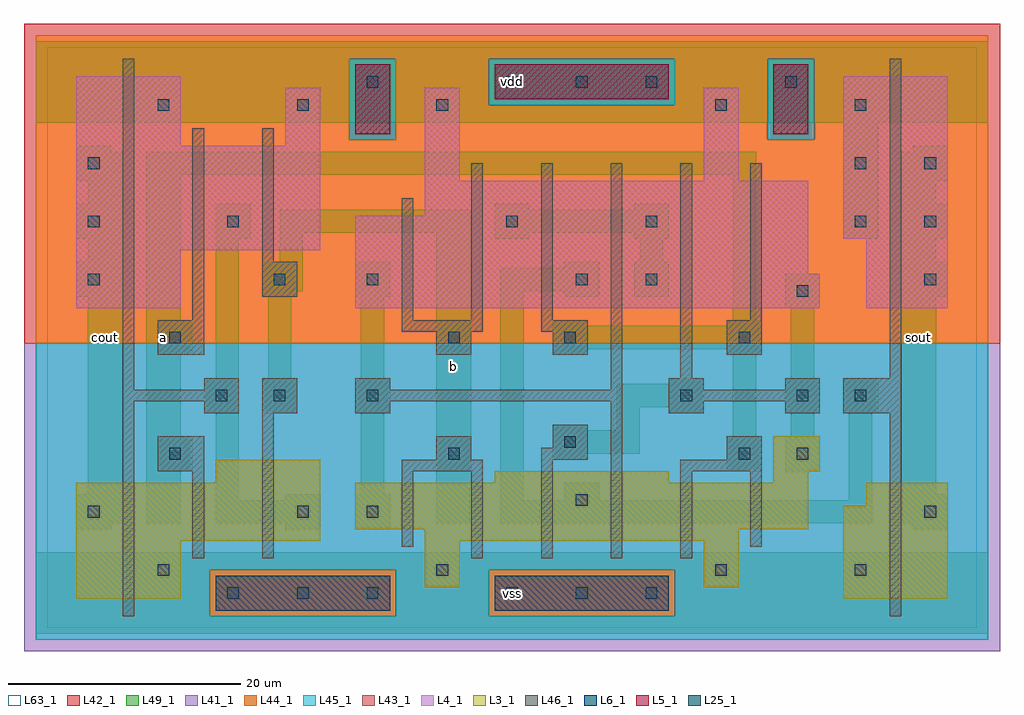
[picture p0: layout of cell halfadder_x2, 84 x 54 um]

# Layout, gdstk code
import gdstk
lib = gdstk.Library(unit=1e-6, precision=1e-09)
def R(c, l, rs):  # rectangles x0, y0, x1, y1
    for r in rs: c.add(gdstk.rectangle(r[:2], r[2:], *l))
def A(c, l, x, y, w, h, nx, ny, dx, dy):  # array of equal rectangles
    R(c, l, [(x+i*dx, y+j*dy, x+i*dx+w, y+j*dy+h) for i in range(nx) for j in range(ny)])
L3_1 = (3, 1)
L4_1 = (4, 1)
L5_1 = (5, 1)
L6_1 = (6, 1)
L25_1 = (25, 1)
L41_1 = (41, 1)
L42_1 = (42, 1)
L43_1 = (43, 1)
L44_1 = (44, 1)
L45_1 = (45, 1)
L46_1 = (46, 1)
L49_1 = (49, 1)
L63_1 = (63, 1)

halfadder_x2 = lib.new_cell('halfadder_x2')
R(halfadder_x2, L3_1, [(2.5,2.5,11.5,7.5), (68.5,2.5,77.5,10.5), (32.5,3.5,35.5,7.5), (56.5,3.5,59.5,7.5), (2.5,7.5,23.5,12.5), (32.5,7.5,59.5,8.5), (26.5,8.5,65.5,12.5), (70.5,10.5,77.5,12.5), (14.5,12.5,23.5,14.5), (38.5,12.5,53.5,13.5), (62.5,12.5,65.5,13.5), (62.5,13.5,66.5,16.5)])
R(halfadder_x2, L4_1, [(2.5,27.5,11.5,32.5), (26.5,27.5,66.5,30.5), (70.5,27.5,77.5,33.5), (26.5,30.5,65.5,35.5), (2.5,32.5,23.5,41.5), (68.5,33.5,77.5,47.5), (32.5,35.5,65.5,38.5), (32.5,38.5,35.5,46.5), (56.5,38.5,59.5,46.5), (2.5,41.5,11.5,47.5), (20.5,41.5,23.5,46.5)])
R(halfadder_x2, L5_1, [(26.5,42.5,29.5,48.5), (62.5,42.5,65.5,48.5), (38.5,45.5,53.5,48.5)])
R(halfadder_x2, L6_1, [(14.5,1.5,29.5,4.5), (38.5,1.5,53.5,4.5)])
A(halfadder_x2, L25_1, 15.5, 2.5, 1, 1, 3, 1, 6, 0)
A(halfadder_x2, L25_1, 39.5, 2.5, 1, 1, 3, 2, 6, 44)
A(halfadder_x2, L25_1, 9.5, 4.5, 1, 1, 3, 1, 24, 0)
A(halfadder_x2, L25_1, 69.5, 4.5, 1, 1, 1, 3, 0, 15)
A(halfadder_x2, L25_1, 27.5, 9.5, 1, 1, 1, 3, 0, 10)
A(halfadder_x2, L25_1, 3.5, 29.5, 1, 1, 1, 3, 0, 5)
A(halfadder_x2, L25_1, 75.5, 29.5, 1, 1, 1, 3, 0, 5)
A(halfadder_x2, L25_1, 9.5, 44.5, 1, 1, 3, 1, 12, 0)
R(halfadder_x2, L25_1, [(3.5,9.5,4.5,10.5), (21.5,9.5,22.5,10.5), (75.5,9.5,76.5,10.5), (45.5,10.5,46.5,11.5), (10.5,14.5,11.5,15.5), (34.5,14.5,35.5,15.5), (59.5,14.5,60.5,15.5), (64.5,14.5,65.5,15.5), (44.5,15.5,45.5,16.5), (14.5,19.5,15.5,20.5), (19.5,19.5,20.5,20.5), (54.5,19.5,55.5,20.5), (64.5,19.5,65.5,20.5), (10.5,24.5,11.5,25.5), (34.5,24.5,35.5,25.5), (44.5,24.5,45.5,25.5), (59.5,24.5,60.5,25.5), (64.5,28.5,65.5,29.5), (19.5,29.5,20.5,30.5), (45.5,29.5,46.5,30.5), (51.5,29.5,52.5,30.5), (15.5,34.5,16.5,35.5), (39.5,34.5,40.5,35.5), (51.5,34.5,52.5,35.5), (69.5,39.5,70.5,40.5), (57.5,44.5,58.5,45.5), (69.5,44.5,70.5,45.5), (27.5,46.5,28.5,47.5), (63.5,46.5,64.5,47.5)])
R(halfadder_x2, L41_1, [(-2,-2,82,24.5)])
R(halfadder_x2, L42_1, [(-2,24.5,82,52)])
R(halfadder_x2, L43_1, [(14.5,1.5,29.5,4.5), (38.5,1.5,53.5,4.5), (2.5,2.5,11.5,7.5), (68.5,2.5,77.5,10.5), (32.5,3.5,35.5,7.5), (56.5,3.5,59.5,7.5), (2.5,7.5,23.5,12.5), (32.5,7.5,59.5,8.5), (26.5,8.5,65.5,12.5), (70.5,10.5,77.5,12.5), (14.5,12.5,23.5,14.5), (38.5,12.5,53.5,13.5), (62.5,12.5,65.5,13.5), (62.5,13.5,66.5,16.5), (2.5,27.5,11.5,32.5), (26.5,27.5,66.5,30.5), (70.5,27.5,77.5,33.5), (26.5,30.5,65.5,35.5), (2.5,32.5,23.5,41.5), (68.5,33.5,77.5,47.5), (32.5,35.5,65.5,38.5), (32.5,38.5,35.5,46.5), (56.5,38.5,59.5,46.5), (2.5,41.5,11.5,47.5), (20.5,41.5,23.5,46.5), (26.5,42.5,29.5,48.5), (62.5,42.5,65.5,48.5), (38.5,45.5,53.5,48.5)])
R(halfadder_x2, L44_1, [(14,1,30,5), (38,1,54,5), (-1,24.5,81,42), (-1,42,26,49), (30,42,62,45), (66,42,81,49), (30,45,38,49), (54,45,62,49), (-1,49,81,51)])
R(halfadder_x2, L45_1, [(-1,-1,81,1), (-1,1,14,5), (30,1,38,5), (54,1,81,5), (-1,5,81,24.5), (26,42,30,49), (62,42,66,49), (38,45,54,49)])
R(halfadder_x2, L46_1, [(6.5,1,7.5,19.5), (72.5,1,73.5,18.5), (12.5,6,13.5,13.5), (18.5,6,19.5,18.5), (36.5,6,37.5,13.5), (42.5,6,43.5,14.5), (48.5,6,49.5,19.5), (54.5,6,55.5,13.5), (30.5,7,31.5,13.5), (60.5,7,61.5,13.5), (9.5,13.5,13.5,16.5), (30.5,13.5,37.5,14.5), (54.5,13.5,61.5,14.5), (33.5,14.5,36.5,16.5), (42.5,14.5,46.5,15.5), (58.5,14.5,61.5,16.5), (43.5,15.5,46.5,17.5), (13.5,18.5,16.5,19.5), (18.5,18.5,21.5,21.5), (26.5,18.5,29.5,19.5), (53.5,18.5,56.5,19.5), (63.5,18.5,66.5,19.5), (68.5,18.5,73.5,21.5), (6.5,19.5,16.5,20.5), (26.5,19.5,49.5,20.5), (53.5,19.5,66.5,20.5), (6.5,20.5,7.5,49), (13.5,20.5,16.5,21.5), (26.5,20.5,29.5,21.5), (48.5,20.5,49.5,40), (53.5,20.5,56.5,21.5), (63.5,20.5,66.5,21.5), (54.5,21.5,55.5,40), (72.5,21.5,73.5,49), (9.5,23.5,13.5,26.5), (33.5,23.5,36.5,25.5), (43.5,23.5,46.5,25.5), (58.5,23.5,61.5,26.5), (30.5,25.5,37.5,26.5), (42.5,25.5,46.5,26.5), (12.5,26.5,13.5,43), (30.5,26.5,31.5,37), (36.5,26.5,37.5,40), (42.5,26.5,43.5,40), (60.5,26.5,61.5,40), (18.5,28.5,21.5,31.5), (18.5,31.5,19.5,43)])
A(halfadder_x2, L49_1, 26.5, 8.5, 3, 3, 1, 3, 0, 10)
R(halfadder_x2, L49_1, [(-1,-0.5,81,6.5), (2.5,8.5,5.5,9), (20.5,8.5,23.5,9), (74.5,8.5,77.5,9), (2.5,9,6.5,11.5), (8.5,9,11.5,13.5), (14.5,9,23.5,11), (33.5,9,36.5,34), (39,9,71,11), (73.5,9,77.5,11.5), (14.5,11,16.5,18.5), (20.5,11,23.5,11.5), (39,11,41,29), (44.5,11,47.5,12.5), (69,11,71,18.5), (3.5,11.5,6.5,28.5), (27,11.5,29,18.5), (73.5,11.5,76.5,28.5), (8.5,13.5,12.5,16.5), (58.5,13.5,61.5,16.5), (63.5,13.5,66.5,16.5), (43.5,14.5,46.5,15), (43.5,15,51,17), (8.5,16.5,11.5,23.5), (59,16.5,61,23.5), (64,16.5,66,18.5), (43.5,17,46.5,17.5), (49,17,51,19), (13.5,18.5,16.5,21.5), (18.5,18.5,21.5,21.5), (53.5,18.5,56.5,19), (63.5,18.5,66.5,21.5), (68.5,18.5,71.5,21.5), (49,19,56.5,21), (53.5,21,56.5,21.5), (14.5,21.5,16.5,33.5), (19,21.5,21,28.5), (27,21.5,29,28.5), (64,21.5,66,27.5), (8.5,23.5,12.5,26.5), (43.5,23.5,46.5,24), (58.5,23.5,61.5,24), (43.5,24,61.5,26), (43.5,26,46.5,26.5), (58.5,26,61.5,26.5), (8.5,26.5,11.5,39), (59,26.5,61,39), (63.5,27.5,66.5,30.5), (2.5,28.5,6.5,31.5), (18.5,28.5,21.5,29), (44.5,28.5,47.5,29), (50.5,28.5,53.5,31.5), (73.5,28.5,77.5,31.5), (18.5,29,22,31.5), (39,29,47.5,31), (44.5,31,47.5,31.5), (3.5,31.5,6.5,33.5), (20,31.5,22,34), (51,31.5,53,33.5), (73.5,31.5,76.5,33.5), (2.5,33.5,6.5,36.5), (14.5,33.5,17.5,36.5), (38.5,33.5,41.5,34), (50.5,33.5,53.5,34), (68.5,33.5,71.5,43.5), (73.5,33.5,77.5,36.5), (20,34,36.5,36), (38.5,34,53.5,36), (38.5,36,41.5,36.5), (50.5,36,53.5,36.5), (3.5,36.5,6.5,38.5), (73.5,36.5,76.5,38.5), (2.5,38.5,6.5,41), (73.5,38.5,77.5,41), (8.5,39,61,41), (2.5,41,5.5,41.5), (74.5,41,77.5,41.5), (-1,43.5,81,50.5)])
R(halfadder_x2, L63_1, [(0,0,80,50)])
halfadder_x2.add(gdstk.Label('a', (10,25), layer=49, texttype=1))
halfadder_x2.add(gdstk.Label('cout', (5,25), layer=49, texttype=1))
halfadder_x2.add(gdstk.Label('a', (10,25), layer=49, texttype=1))
halfadder_x2.add(gdstk.Label('cout', (5,25), layer=49, texttype=1))
halfadder_x2.add(gdstk.Label('vss', (40,3), layer=49, texttype=1))
halfadder_x2.add(gdstk.Label('vss', (40,3), layer=49, texttype=1))
halfadder_x2.add(gdstk.Label('b', (35,22.5), layer=49, texttype=1))
halfadder_x2.add(gdstk.Label('b', (35,22.5), layer=49, texttype=1))
halfadder_x2.add(gdstk.Label('vdd', (40,47), layer=49, texttype=1))
halfadder_x2.add(gdstk.Label('vdd', (40,47), layer=49, texttype=1))
halfadder_x2.add(gdstk.Label('sout', (75,25), layer=49, texttype=1))
halfadder_x2.add(gdstk.Label('sout', (75,25), layer=49, texttype=1))

lib.write_gds('halfadder_x2.gds')
